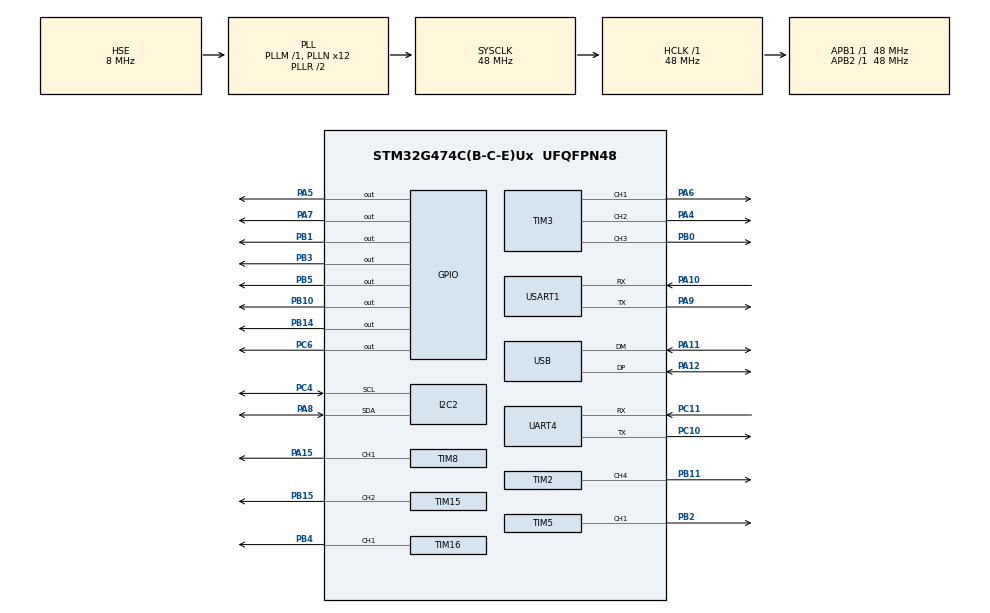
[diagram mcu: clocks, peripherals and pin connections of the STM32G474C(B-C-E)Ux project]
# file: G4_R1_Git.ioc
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I2C2.Timing=0x10805D88
Mcu.Family=STM32G4
Mcu.Name=STM32G474C(B-C-E)Ux
Mcu.Package=UFQFPN48
NVIC.PriorityGroup=NVIC_PRIORITYGROUP_4
NVIC.UART4_IRQn=true\:0\:0\:false\:false\:true\:true\:true\:true
NVIC.USART1_IRQn=true\:0\:0\:false\:false\:true\:true\:true\:true
NVIC.USB_LP_IRQn=true\:0\:0\:false\:false\:true\:false\:true\:true
PA10.Mode=Asynchronous
PA10.Signal=USART1_RX
PA11.Mode=Device
PA11.Signal=USB_DM
PA12.Mode=Device
PA12.Signal=USB_DP
PA13.Mode=Serial_Wire
PA13.Signal=SYS_JTMS-SWDIO
PA14.Mode=Serial_Wire
PA14.Signal=SYS_JTCK-SWCLK
PA15.Signal=S_TIM8_CH1
PA4.Signal=S_TIM3_CH2
PA5.Signal=GPIO_Output
PA6.Signal=S_TIM3_CH1
PA7.Signal=GPIO_Output
PA8.Mode=I2C
PA8.Signal=I2C2_SDA
PA9.Mode=Asynchronous
PA9.Signal=USART1_TX
PB0.Signal=S_TIM3_CH3
PB1.Signal=GPIO_Output
PB10.Signal=GPIO_Output
PB11.Signal=S_TIM2_CH4
PB14.Signal=GPIO_Output
PB15.Signal=S_TIM15_CH2
PB2.Signal=S_TIM5_CH1
PB3.Signal=GPIO_Output
PB4.Signal=S_TIM16_CH1
PB5.Signal=GPIO_Output
PC10.Mode=Asynchronous
PC10.Signal=UART4_TX
PC11.Mode=Asynchronous
PC11.Signal=UART4_RX
PC4.Mode=I2C
PC4.Signal=I2C2_SCL
PC6.Signal=GPIO_Output
PF0-OSC_IN.Mode=HSE-External-Oscillator
PF0-OSC_IN.Signal=RCC_OSC_IN
PF1-OSC_OUT.Mode=HSE-External-Oscillator
PF1-OSC_OUT.Signal=RCC_OSC_OUT
ProjectManager.HeapSize=0x200
ProjectManager.StackSize=0x400
ProjectManager.TargetToolchain=STM32CubeIDE
RCC.ADC12Freq_Value=48000000
RCC.ADC345Freq_Value=48000000
RCC.AHBFreq_Value=48000000
RCC.APB1Freq_Value=48000000
RCC.APB1TimFreq_Value=48000000
RCC.APB2Freq_Value=48000000
RCC.APB2TimFreq_Value=48000000
RCC.CK48CLockSelection=RCC_USBCLKSOURCE_HSI48
RCC.CortexFreq_Value=48000000
RCC.EXTERNAL_CLOCK_VALUE=12288000
RCC.HCLKFreq_Value=48000000
RCC.HSE_VALUE=8000000
RCC.HSI48_VALUE=48000000
RCC.HSI_VALUE=16000000
RCC.LSE_VALUE=32768
RCC.PLLN=12
RCC.PLLSourceVirtual=RCC_PLLSOURCE_HSE
RCC.SYSCLKFreq_VALUE=48000000
RCC.SYSCLKSource=RCC_SYSCLKSOURCE_PLLCLK
RCC.USBFreq_Value=48000000
RCC.VCOOutputFreq_Value=96000000
SH.S_TIM15_CH2.0=TIM15_CH2,PWM Generation2 CH2
SH.S_TIM16_CH1.0=TIM16_CH1,PWM Generation1 CH1
SH.S_TIM2_CH4.0=TIM2_CH4,PWM Generation4 CH4
SH.S_TIM3_CH1.0=TIM3_CH1,PWM Generation1 CH1
SH.S_TIM3_CH2.0=TIM3_CH2,PWM Generation2 CH2
SH.S_TIM3_CH3.0=TIM3_CH3,PWM Generation3 CH3
SH.S_TIM5_CH1.0=TIM5_CH1,PWM Generation1 CH1
SH.S_TIM8_CH1.0=TIM8_CH1,PWM Generation1 CH1
TIM15.Channel-PWM\ Generation2\ CH2=TIM_CHANNEL_2
TIM16.Channel=TIM_CHANNEL_1
TIM2.Channel-PWM\ Generation4\ CH4=TIM_CHANNEL_4
TIM3.Channel-PWM\ Generation1\ CH1=TIM_CHANNEL_1
TIM3.Channel-PWM\ Generation2\ CH2=TIM_CHANNEL_2
TIM3.Channel-PWM\ Generation3\ CH3=TIM_CHANNEL_3
TIM5.Channel-PWM\ Generation1\ CH1=TIM_CHANNEL_1
TIM8.Channel-PWM\ Generation1\ CH1=TIM_CHANNEL_1
USART1.VirtualMode-Asynchronous=VM_ASYNC
USB_DEVICE.CLASS_NAME_FS=CDC
USB_DEVICE.VirtualMode=Cdc
USB_DEVICE.VirtualModeFS=Cdc_FS
VP_SYS_VS_DBSignals.Mode=DisableDeadBatterySignals
VP_TIM16_VS_ClockSourceINT.Mode=Enable_Timer
VP_USB_DEVICE_VS_USB_DEVICE_CDC_FS.Mode=CDC_FS
board=custom

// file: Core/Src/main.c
/* USER CODE BEGIN Header */
/**
  ******************************************************************************
  * @file           : main.c
  * @brief          : Main program body
  ******************************************************************************
  * @attention
  *
  * Copyright (c) 2026 STMicroelectronics.
  * All rights reserved.
  *
  * This software is licensed under terms that can be found in the LICENSE file
  * in the root directory of this software component.
  * If no LICENSE file comes with this software, it is provided AS-IS.
  *
  ******************************************************************************
  */
/* USER CODE END Header */
#include "main.h"
#include "usb_device.h"

/* USER CODE BEGIN Includes */
#include "usbd_cdc_if.h"
#include "main.h"
#include "mpu.h"
#include "yaw_control.h"
#include "holonomic.h"
#include "motor.h"
/* USER CODE END Includes */

/* USER CODE BEGIN PTD */
typedef enum{
	HEADER_1,
	HEADER_2,
	DATA,
	CHECKSUM,
} STATE;
/* USER CODE END PTD */

I2C_HandleTypeDef hi2c2;

TIM_HandleTypeDef htim2;
TIM_HandleTypeDef htim3;
TIM_HandleTypeDef htim5;
TIM_HandleTypeDef htim8;
TIM_HandleTypeDef htim15;
TIM_HandleTypeDef htim16;

UART_HandleTypeDef huart4;
UART_HandleTypeDef huart1;

/* USER CODE BEGIN PV */
/* Joystick inputs */
int16_t lx = 0;
int16_t ry = 0;
int16_t rx = 0;

STATE state = HEADER_1;
uint8_t byte;
uint8_t data[3];
uint8_t idx;
uint8_t checksum;
uint16_t Timeout;

/* Wheel outputs */
int16_t wheel[4];   // FL, FR, BL, BR

//UART data
uint8_t rx_byte;
volatile uint8_t uart_line_ready = 0;
<<<<<<< HEAD
=======

char cdc_buf[128];

>>>>>>> 90d3c38 (Added function for cdc Printing and debugging)
/* USER CODE END PV */

void SystemClock_Config(void);
static void MX_GPIO_Init(void);
static void MX_TIM2_Init(void);
static void MX_TIM3_Init(void);
static void MX_TIM8_Init(void);
static void MX_TIM15_Init(void);
static void MX_TIM16_Init(void);
static void MX_UART4_Init(void);
static void MX_I2C2_Init(void);
static void MX_TIM5_Init(void);
static void MX_USART1_UART_Init(void);

/* USER CODE BEGIN 0 */
<<<<<<< HEAD
=======

uint8_t CDC_Print(char *msg)
{
    uint8_t ret = CDC_Transmit_FS((uint8_t*)msg, strlen(msg));

    // Don't block forever (important for control loop)
    return ret;
}

>>>>>>> 90d3c38 (Added function for cdc Printing and debugging)
void recombination(uint8_t *p){
	ry = (uint16_t)p[0]-128;
	rx = (uint16_t)p[1]-128;
	lx = (uint16_t)p[2]-128;
	uart_line_ready = 1;
	Timeout = HAL_GetTick();
}

void UART_receive(uint8_t byte){
	switch(state){
	case HEADER_1 :
		if(byte== 0x32) state = HEADER_2;

		break;

	case HEADER_2 :
		if(byte== 0x32){
			state = DATA;
			idx=0;
			checksum=0;
		}
		else {
			state = HEADER_1;
		}

		break;

	case DATA :
		data[idx++] = byte;
		checksum = (checksum + byte) & 0xFF;
			if(idx>=3){
				state = CHECKSUM;
			}
		break;
	case CHECKSUM:
		if(byte == checksum){
			recombination(data);
		}
		state = HEADER_1;
		break;

	}

}
/* USER CODE END 0 */

int main(void)
{

  /* MCU Configuration--------------------------------------------------------*/

  /* Reset of all peripherals, Initializes the Flash interface and the Systick. */
  HAL_Init();

  /* Configure the system clock */
  SystemClock_Config();

  /* Initialize all configured peripherals */
  MX_GPIO_Init();
  MX_TIM2_Init();
  MX_TIM3_Init();
  MX_TIM8_Init();
  MX_TIM15_Init();
  MX_TIM16_Init();
  MX_UART4_Init();
  MX_USB_Device_Init();
  MX_I2C2_Init();
  MX_TIM5_Init();
  MX_USART1_UART_Init();
  /* USER CODE BEGIN 2 */
  Motor_Init();     // PWM start
  MPU_Init();
  MPU_Calibrate();
  YawControl_Init();

  HAL_UART_Receive_IT(&huart4, &rx_byte, 1);
  /* USER CODE END 2 */

  /* Infinite loop */
  /* USER CODE BEGIN WHILE */
  while (1)
  {
	  /* ---------------- SENSOR ---------------- */
	         MPU_Update();   // updates global yaw

	         /* ---------------- CONTROL ---------------- */
	         if(uart_line_ready){
	        	 uart_line_ready = 0;

	         int16_t omega_out = YawControl_Update(lx, ry, rx);
	         // rx = manual rotation
	         // omega = corrected rotation

	         /* ---------------- KINEMATICS ---------------- */
	         Holonomic_Compute(lx, ry, omega_out, wheel);

	         /* ---------------- ACTUATION ---------------- */
	         Motor_SetSpeed(MOTOR_FL, wheel[0]);
	         Motor_SetSpeed(MOTOR_FR, wheel[1]);
	         Motor_SetSpeed(MOTOR_BL, wheel[2]);
	         Motor_SetSpeed(MOTOR_BR, wheel[3]);

	         if(HAL_GetTick() - Timeout >= 300 ){

	        	 rx = 0;
	        	 ry = 0;
	        	 lx = 0;
	         }

<<<<<<< HEAD
	     }
=======

	     }
	         static uint32_t lastPrint = 0;

	         if (HAL_GetTick() - lastPrint >= 100)   // 10 Hz
	         {
	             lastPrint = HAL_GetTick();

	             int len = snprintf(cdc_buf, sizeof(cdc_buf),
	                 "LX:%d RY:%d RX:%d | YAW:%.2f | W:%d %d %d %d\r\n",
	                 lx, ry, rx,
	                 yaw,
	                 wheel[0], wheel[1], wheel[2], wheel[3]
	             );

	             CDC_Transmit_FS((uint8_t*)cdc_buf, len);
	         }
>>>>>>> 90d3c38 (Added function for cdc Printing and debugging)

  }
    /* USER CODE END WHILE */

}

void SystemClock_Config(void)
{
  RCC_OscInitTypeDef RCC_OscInitStruct = {0};
  RCC_ClkInitTypeDef RCC_ClkInitStruct = {0};

  /** Configure the main internal regulator output voltage
  */
  HAL_PWREx_ControlVoltageScaling(PWR_REGULATOR_VOLTAGE_SCALE1);

  /** Initializes the RCC Oscillators according to the specified parameters
  * in the RCC_OscInitTypeDef structure.
  */
  RCC_OscInitStruct.OscillatorType = RCC_OSCILLATORTYPE_HSI48|RCC_OSCILLATORTYPE_HSE;
  RCC_OscInitStruct.HSEState = RCC_HSE_ON;
  RCC_OscInitStruct.HSI48State = RCC_HSI48_ON;
  RCC_OscInitStruct.PLL.PLLState = RCC_PLL_ON;
  RCC_OscInitStruct.PLL.PLLSource = RCC_PLLSOURCE_HSE;
  RCC_OscInitStruct.PLL.PLLM = RCC_PLLM_DIV1;
  RCC_OscInitStruct.PLL.PLLN = 12;
  RCC_OscInitStruct.PLL.PLLP = RCC_PLLP_DIV2;
  RCC_OscInitStruct.PLL.PLLQ = RCC_PLLQ_DIV2;
  RCC_OscInitStruct.PLL.PLLR = RCC_PLLR_DIV2;
  if (HAL_RCC_OscConfig(&RCC_OscInitStruct) != HAL_OK)
  {
    Error_Handler();
  }

  /** Initializes the CPU, AHB and APB buses clocks
  */
  RCC_ClkInitStruct.ClockType = RCC_CLOCKTYPE_HCLK|RCC_CLOCKTYPE_SYSCLK
                              |RCC_CLOCKTYPE_PCLK1|RCC_CLOCKTYPE_PCLK2;
  RCC_ClkInitStruct.SYSCLKSource = RCC_SYSCLKSOURCE_PLLCLK;
  RCC_ClkInitStruct.AHBCLKDivider = RCC_SYSCLK_DIV1;
  RCC_ClkInitStruct.APB1CLKDivider = RCC_HCLK_DIV1;
  RCC_ClkInitStruct.APB2CLKDivider = RCC_HCLK_DIV1;

  if (HAL_RCC_ClockConfig(&RCC_ClkInitStruct, FLASH_LATENCY_1) != HAL_OK)
  {
    Error_Handler();
  }
}

static void MX_I2C2_Init(void)
{

  hi2c2.Instance = I2C2;
  hi2c2.Init.Timing = 0x10805D88;
  hi2c2.Init.OwnAddress1 = 0;
  hi2c2.Init.AddressingMode = I2C_ADDRESSINGMODE_7BIT;
  hi2c2.Init.DualAddressMode = I2C_DUALADDRESS_DISABLE;
  hi2c2.Init.OwnAddress2 = 0;
  hi2c2.Init.OwnAddress2Masks = I2C_OA2_NOMASK;
  hi2c2.Init.GeneralCallMode = I2C_GENERALCALL_DISABLE;
  hi2c2.Init.NoStretchMode = I2C_NOSTRETCH_DISABLE;
  if (HAL_I2C_Init(&hi2c2) != HAL_OK)
  {
    Error_Handler();
  }

  /** Configure Analogue filter
  */
  if (HAL_I2CEx_ConfigAnalogFilter(&hi2c2, I2C_ANALOGFILTER_ENABLE) != HAL_OK)
  {
    Error_Handler();
  }

  /** Configure Digital filter
  */
  if (HAL_I2CEx_ConfigDigitalFilter(&hi2c2, 0) != HAL_OK)
  {
    Error_Handler();
  }

}

static void MX_TIM2_Init(void)
{

  TIM_MasterConfigTypeDef sMasterConfig = {0};
  TIM_OC_InitTypeDef sConfigOC = {0};

  htim2.Instance = TIM2;
  htim2.Init.Prescaler = 0;
  htim2.Init.CounterMode = TIM_COUNTERMODE_UP;
  htim2.Init.Period = 4294967295;
  htim2.Init.ClockDivision = TIM_CLOCKDIVISION_DIV1;
  htim2.Init.AutoReloadPreload = TIM_AUTORELOAD_PRELOAD_DISABLE;
  if (HAL_TIM_PWM_Init(&htim2) != HAL_OK)
  {
    Error_Handler();
  }
  sMasterConfig.MasterOutputTrigger = TIM_TRGO_RESET;
  sMasterConfig.MasterSlaveMode = TIM_MASTERSLAVEMODE_DISABLE;
  if (HAL_TIMEx_MasterConfigSynchronization(&htim2, &sMasterConfig) != HAL_OK)
  {
    Error_Handler();
  }
  sConfigOC.OCMode = TIM_OCMODE_PWM1;
  sConfigOC.Pulse = 0;
  sConfigOC.OCPolarity = TIM_OCPOLARITY_HIGH;
  sConfigOC.OCFastMode = TIM_OCFAST_DISABLE;
  if (HAL_TIM_PWM_ConfigChannel(&htim2, &sConfigOC, TIM_CHANNEL_4) != HAL_OK)
  {
    Error_Handler();
  }
  HAL_TIM_MspPostInit(&htim2);

}

static void MX_TIM3_Init(void)
{

  TIM_MasterConfigTypeDef sMasterConfig = {0};
  TIM_OC_InitTypeDef sConfigOC = {0};

  htim3.Instance = TIM3;
  htim3.Init.Prescaler = 0;
  htim3.Init.CounterMode = TIM_COUNTERMODE_UP;
  htim3.Init.Period = 65535;
  htim3.Init.ClockDivision = TIM_CLOCKDIVISION_DIV1;
  htim3.Init.AutoReloadPreload = TIM_AUTORELOAD_PRELOAD_DISABLE;
  if (HAL_TIM_PWM_Init(&htim3) != HAL_OK)
  {
    Error_Handler();
  }
  sMasterConfig.MasterOutputTrigger = TIM_TRGO_RESET;
  sMasterConfig.MasterSlaveMode = TIM_MASTERSLAVEMODE_DISABLE;
  if (HAL_TIMEx_MasterConfigSynchronization(&htim3, &sMasterConfig) != HAL_OK)
  {
    Error_Handler();
  }
  sConfigOC.OCMode = TIM_OCMODE_PWM1;
  sConfigOC.Pulse = 0;
  sConfigOC.OCPolarity = TIM_OCPOLARITY_HIGH;
  sConfigOC.OCFastMode = TIM_OCFAST_DISABLE;
  if (HAL_TIM_PWM_ConfigChannel(&htim3, &sConfigOC, TIM_CHANNEL_1) != HAL_OK)
  {
    Error_Handler();
  }
  if (HAL_TIM_PWM_ConfigChannel(&htim3, &sConfigOC, TIM_CHANNEL_2) != HAL_OK)
  {
    Error_Handler();
  }
  if (HAL_TIM_PWM_ConfigChannel(&htim3, &sConfigOC, TIM_CHANNEL_3) != HAL_OK)
  {
    Error_Handler();
  }
  HAL_TIM_MspPostInit(&htim3);

}

static void MX_TIM5_Init(void)
{

  TIM_MasterConfigTypeDef sMasterConfig = {0};
  TIM_OC_InitTypeDef sConfigOC = {0};

  htim5.Instance = TIM5;
  htim5.Init.Prescaler = 0;
  htim5.Init.CounterMode = TIM_COUNTERMODE_UP;
  htim5.Init.Period = 4294967295;
  htim5.Init.ClockDivision = TIM_CLOCKDIVISION_DIV1;
  htim5.Init.AutoReloadPreload = TIM_AUTORELOAD_PRELOAD_DISABLE;
  if (HAL_TIM_PWM_Init(&htim5) != HAL_OK)
  {
    Error_Handler();
  }
  sMasterConfig.MasterOutputTrigger = TIM_TRGO_RESET;
  sMasterConfig.MasterSlaveMode = TIM_MASTERSLAVEMODE_DISABLE;
  if (HAL_TIMEx_MasterConfigSynchronization(&htim5, &sMasterConfig) != HAL_OK)
  {
    Error_Handler();
  }
  sConfigOC.OCMode = TIM_OCMODE_PWM1;
  sConfigOC.Pulse = 0;
  sConfigOC.OCPolarity = TIM_OCPOLARITY_HIGH;
  sConfigOC.OCFastMode = TIM_OCFAST_DISABLE;
  if (HAL_TIM_PWM_ConfigChannel(&htim5, &sConfigOC, TIM_CHANNEL_1) != HAL_OK)
  {
    Error_Handler();
  }
  HAL_TIM_MspPostInit(&htim5);

}

static void MX_TIM8_Init(void)
{

  TIM_MasterConfigTypeDef sMasterConfig = {0};
  TIM_OC_InitTypeDef sConfigOC = {0};
  TIM_BreakDeadTimeConfigTypeDef sBreakDeadTimeConfig = {0};

  htim8.Instance = TIM8;
  htim8.Init.Prescaler = 0;
  htim8.Init.CounterMode = TIM_COUNTERMODE_UP;
  htim8.Init.Period = 65535;
  htim8.Init.ClockDivision = TIM_CLOCKDIVISION_DIV1;
  htim8.Init.RepetitionCounter = 0;
  htim8.Init.AutoReloadPreload = TIM_AUTORELOAD_PRELOAD_DISABLE;
  if (HAL_TIM_PWM_Init(&htim8) != HAL_OK)
  {
    Error_Handler();
  }
  sMasterConfig.MasterOutputTrigger = TIM_TRGO_RESET;
  sMasterConfig.MasterOutputTrigger2 = TIM_TRGO2_RESET;
  sMasterConfig.MasterSlaveMode = TIM_MASTERSLAVEMODE_DISABLE;
  if (HAL_TIMEx_MasterConfigSynchronization(&htim8, &sMasterConfig) != HAL_OK)
  {
    Error_Handler();
  }
  sConfigOC.OCMode = TIM_OCMODE_PWM1;
  sConfigOC.Pulse = 0;
  sConfigOC.OCPolarity = TIM_OCPOLARITY_HIGH;
  sConfigOC.OCNPolarity = TIM_OCNPOLARITY_HIGH;
  sConfigOC.OCFastMode = TIM_OCFAST_DISABLE;
  sConfigOC.OCIdleState = TIM_OCIDLESTATE_RESET;
  sConfigOC.OCNIdleState = TIM_OCNIDLESTATE_RESET;
  if (HAL_TIM_PWM_ConfigChannel(&htim8, &sConfigOC, TIM_CHANNEL_1) != HAL_OK)
  {
    Error_Handler();
  }
  sBreakDeadTimeConfig.OffStateRunMode = TIM_OSSR_DISABLE;
  sBreakDeadTimeConfig.OffStateIDLEMode = TIM_OSSI_DISABLE;
  sBreakDeadTimeConfig.LockLevel = TIM_LOCKLEVEL_OFF;
  sBreakDeadTimeConfig.DeadTime = 0;
  sBreakDeadTimeConfig.BreakState = TIM_BREAK_DISABLE;
  sBreakDeadTimeConfig.BreakPolarity = TIM_BREAKPOLARITY_HIGH;
  sBreakDeadTimeConfig.BreakFilter = 0;
  sBreakDeadTimeConfig.BreakAFMode = TIM_BREAK_AFMODE_INPUT;
  sBreakDeadTimeConfig.Break2State = TIM_BREAK2_DISABLE;
  sBreakDeadTimeConfig.Break2Polarity = TIM_BREAK2POLARITY_HIGH;
  sBreakDeadTimeConfig.Break2Filter = 0;
  sBreakDeadTimeConfig.Break2AFMode = TIM_BREAK_AFMODE_INPUT;
  sBreakDeadTimeConfig.AutomaticOutput = TIM_AUTOMATICOUTPUT_DISABLE;
  if (HAL_TIMEx_ConfigBreakDeadTime(&htim8, &sBreakDeadTimeConfig) != HAL_OK)
  {
    Error_Handler();
  }
  HAL_TIM_MspPostInit(&htim8);

}

static void MX_TIM15_Init(void)
{

  TIM_MasterConfigTypeDef sMasterConfig = {0};
  TIM_OC_InitTypeDef sConfigOC = {0};
  TIM_BreakDeadTimeConfigTypeDef sBreakDeadTimeConfig = {0};

  htim15.Instance = TIM15;
  htim15.Init.Prescaler = 0;
  htim15.Init.CounterMode = TIM_COUNTERMODE_UP;
  htim15.Init.Period = 65535;
  htim15.Init.ClockDivision = TIM_CLOCKDIVISION_DIV1;
  htim15.Init.RepetitionCounter = 0;
  htim15.Init.AutoReloadPreload = TIM_AUTORELOAD_PRELOAD_DISABLE;
  if (HAL_TIM_PWM_Init(&htim15) != HAL_OK)
  {
    Error_Handler();
  }
  sMasterConfig.MasterOutputTrigger = TIM_TRGO_RESET;
  sMasterConfig.MasterSlaveMode = TIM_MASTERSLAVEMODE_DISABLE;
  if (HAL_TIMEx_MasterConfigSynchronization(&htim15, &sMasterConfig) != HAL_OK)
  {
    Error_Handler();
  }
  sConfigOC.OCMode = TIM_OCMODE_PWM1;
  sConfigOC.Pulse = 0;
  sConfigOC.OCPolarity = TIM_OCPOLARITY_HIGH;
  sConfigOC.OCNPolarity = TIM_OCNPOLARITY_HIGH;
  sConfigOC.OCFastMode = TIM_OCFAST_DISABLE;
  sConfigOC.OCIdleState = TIM_OCIDLESTATE_RESET;
  sConfigOC.OCNIdleState = TIM_OCNIDLESTATE_RESET;
  if (HAL_TIM_PWM_ConfigChannel(&htim15, &sConfigOC, TIM_CHANNEL_2) != HAL_OK)
  {
    Error_Handler();
  }
  sBreakDeadTimeConfig.OffStateRunMode = TIM_OSSR_DISABLE;
  sBreakDeadTimeConfig.OffStateIDLEMode = TIM_OSSI_DISABLE;
  sBreakDeadTimeConfig.LockLevel = TIM_LOCKLEVEL_OFF;
  sBreakDeadTimeConfig.DeadTime = 0;
  sBreakDeadTimeConfig.BreakState = TIM_BREAK_DISABLE;
  sBreakDeadTimeConfig.BreakPolarity = TIM_BREAKPOLARITY_HIGH;
  sBreakDeadTimeConfig.BreakFilter = 0;
  sBreakDeadTimeConfig.AutomaticOutput = TIM_AUTOMATICOUTPUT_DISABLE;
  if (HAL_TIMEx_ConfigBreakDeadTime(&htim15, &sBreakDeadTimeConfig) != HAL_OK)
  {
    Error_Handler();
  }
  HAL_TIM_MspPostInit(&htim15);

}

static void MX_TIM16_Init(void)
{

  TIM_OC_InitTypeDef sConfigOC = {0};
  TIM_BreakDeadTimeConfigTypeDef sBreakDeadTimeConfig = {0};

  htim16.Instance = TIM16;
  htim16.Init.Prescaler = 0;
  htim16.Init.CounterMode = TIM_COUNTERMODE_UP;
  htim16.Init.Period = 65535;
  htim16.Init.ClockDivision = TIM_CLOCKDIVISION_DIV1;
  htim16.Init.RepetitionCounter = 0;
  htim16.Init.AutoReloadPreload = TIM_AUTORELOAD_PRELOAD_DISABLE;
  if (HAL_TIM_Base_Init(&htim16) != HAL_OK)
  {
    Error_Handler();
  }
  if (HAL_TIM_PWM_Init(&htim16) != HAL_OK)
  {
    Error_Handler();
  }
  sConfigOC.OCMode = TIM_OCMODE_PWM1;
  sConfigOC.Pulse = 0;
  sConfigOC.OCPolarity = TIM_OCPOLARITY_HIGH;
  sConfigOC.OCNPolarity = TIM_OCNPOLARITY_HIGH;
  sConfigOC.OCFastMode = TIM_OCFAST_DISABLE;
  sConfigOC.OCIdleState = TIM_OCIDLESTATE_RESET;
  sConfigOC.OCNIdleState = TIM_OCNIDLESTATE_RESET;
  if (HAL_TIM_PWM_ConfigChannel(&htim16, &sConfigOC, TIM_CHANNEL_1) != HAL_OK)
  {
    Error_Handler();
  }
  sBreakDeadTimeConfig.OffStateRunMode = TIM_OSSR_DISABLE;
  sBreakDeadTimeConfig.OffStateIDLEMode = TIM_OSSI_DISABLE;
  sBreakDeadTimeConfig.LockLevel = TIM_LOCKLEVEL_OFF;
  sBreakDeadTimeConfig.DeadTime = 0;
  sBreakDeadTimeConfig.BreakState = TIM_BREAK_DISABLE;
  sBreakDeadTimeConfig.BreakPolarity = TIM_BREAKPOLARITY_HIGH;
  sBreakDeadTimeConfig.BreakFilter = 0;
  sBreakDeadTimeConfig.AutomaticOutput = TIM_AUTOMATICOUTPUT_DISABLE;
  if (HAL_TIMEx_ConfigBreakDeadTime(&htim16, &sBreakDeadTimeConfig) != HAL_OK)
  {
    Error_Handler();
  }
  HAL_TIM_MspPostInit(&htim16);

}

static void MX_UART4_Init(void)
{

  huart4.Instance = UART4;
  huart4.Init.BaudRate = 115200;
  huart4.Init.WordLength = UART_WORDLENGTH_8B;
  huart4.Init.StopBits = UART_STOPBITS_1;
  huart4.Init.Parity = UART_PARITY_NONE;
  huart4.Init.Mode = UART_MODE_TX_RX;
  huart4.Init.HwFlowCtl = UART_HWCONTROL_NONE;
  huart4.Init.OverSampling = UART_OVERSAMPLING_16;
  huart4.Init.OneBitSampling = UART_ONE_BIT_SAMPLE_DISABLE;
  huart4.Init.ClockPrescaler = UART_PRESCALER_DIV1;
  huart4.AdvancedInit.AdvFeatureInit = UART_ADVFEATURE_NO_INIT;
  if (HAL_UART_Init(&huart4) != HAL_OK)
  {
    Error_Handler();
  }
  if (HAL_UARTEx_SetTxFifoThreshold(&huart4, UART_TXFIFO_THRESHOLD_1_8) != HAL_OK)
  {
    Error_Handler();
  }
  if (HAL_UARTEx_SetRxFifoThreshold(&huart4, UART_RXFIFO_THRESHOLD_1_8) != HAL_OK)
  {
    Error_Handler();
  }
  if (HAL_UARTEx_DisableFifoMode(&huart4) != HAL_OK)
  {
    Error_Handler();
  }

}

static void MX_USART1_UART_Init(void)
{

  huart1.Instance = USART1;
  huart1.Init.BaudRate = 115200;
  huart1.Init.WordLength = UART_WORDLENGTH_8B;
  huart1.Init.StopBits = UART_STOPBITS_1;
  huart1.Init.Parity = UART_PARITY_NONE;
  huart1.Init.Mode = UART_MODE_TX_RX;
  huart1.Init.HwFlowCtl = UART_HWCONTROL_NONE;
  huart1.Init.OverSampling = UART_OVERSAMPLING_16;
  huart1.Init.OneBitSampling = UART_ONE_BIT_SAMPLE_DISABLE;
  huart1.Init.ClockPrescaler = UART_PRESCALER_DIV1;
  huart1.AdvancedInit.AdvFeatureInit = UART_ADVFEATURE_NO_INIT;
  if (HAL_UART_Init(&huart1) != HAL_OK)
  {
    Error_Handler();
  }
  if (HAL_UARTEx_SetTxFifoThreshold(&huart1, UART_TXFIFO_THRESHOLD_1_8) != HAL_OK)
  {
    Error_Handler();
  }
  if (HAL_UARTEx_SetRxFifoThreshold(&huart1, UART_RXFIFO_THRESHOLD_1_8) != HAL_OK)
  {
    Error_Handler();
  }
  if (HAL_UARTEx_DisableFifoMode(&huart1) != HAL_OK)
  {
    Error_Handler();
  }

}

static void MX_GPIO_Init(void)
{
  GPIO_InitTypeDef GPIO_InitStruct = {0};

  /* GPIO Ports Clock Enable */
  __HAL_RCC_GPIOF_CLK_ENABLE();
  __HAL_RCC_GPIOA_CLK_ENABLE();
  __HAL_RCC_GPIOC_CLK_ENABLE();
  __HAL_RCC_GPIOB_CLK_ENABLE();

  /*Configure GPIO pin Output Level */
  HAL_GPIO_WritePin(GPIOA, GPIO_PIN_5|GPIO_PIN_7, GPIO_PIN_RESET);

  /*Configure GPIO pin Output Level */
  HAL_GPIO_WritePin(GPIOB, GPIO_PIN_1|GPIO_PIN_10|GPIO_PIN_14|GPIO_PIN_3
                          |GPIO_PIN_5, GPIO_PIN_RESET);

  /*Configure GPIO pin Output Level */
  HAL_GPIO_WritePin(GPIOC, GPIO_PIN_6, GPIO_PIN_RESET);

  /*Configure GPIO pins : PA5 PA7 */
  GPIO_InitStruct.Pin = GPIO_PIN_5|GPIO_PIN_7;
  GPIO_InitStruct.Mode = GPIO_MODE_OUTPUT_PP;
  GPIO_InitStruct.Pull = GPIO_NOPULL;
  GPIO_InitStruct.Speed = GPIO_SPEED_FREQ_LOW;
  HAL_GPIO_Init(GPIOA, &GPIO_InitStruct);

  /*Configure GPIO pins : PB1 PB10 PB14 PB3
                           PB5 */
  GPIO_InitStruct.Pin = GPIO_PIN_1|GPIO_PIN_10|GPIO_PIN_14|GPIO_PIN_3
                          |GPIO_PIN_5;
  GPIO_InitStruct.Mode = GPIO_MODE_OUTPUT_PP;
  GPIO_InitStruct.Pull = GPIO_NOPULL;
  GPIO_InitStruct.Speed = GPIO_SPEED_FREQ_LOW;
  HAL_GPIO_Init(GPIOB, &GPIO_InitStruct);

  /*Configure GPIO pin : PC6 */
  GPIO_InitStruct.Pin = GPIO_PIN_6;
  GPIO_InitStruct.Mode = GPIO_MODE_OUTPUT_PP;
  GPIO_InitStruct.Pull = GPIO_NOPULL;
  GPIO_InitStruct.Speed = GPIO_SPEED_FREQ_LOW;
  HAL_GPIO_Init(GPIOC, &GPIO_InitStruct);

}

/* USER CODE BEGIN 4 */
void HAL_UART_RxCpltCallback(UART_HandleTypeDef *huart)
{
    /* ---- UART4: joystick data ---- */
    if(huart -> Instance == UART4){
    	UART_receive(rx_byte);
    	HAL_UART_Receive_IT(&huart4, &rx_byte, 1);

    }
}

/* USER CODE END 4 */

void Error_Handler(void)
{
  __disable_irq();
  while (1)
  {
  }
}
